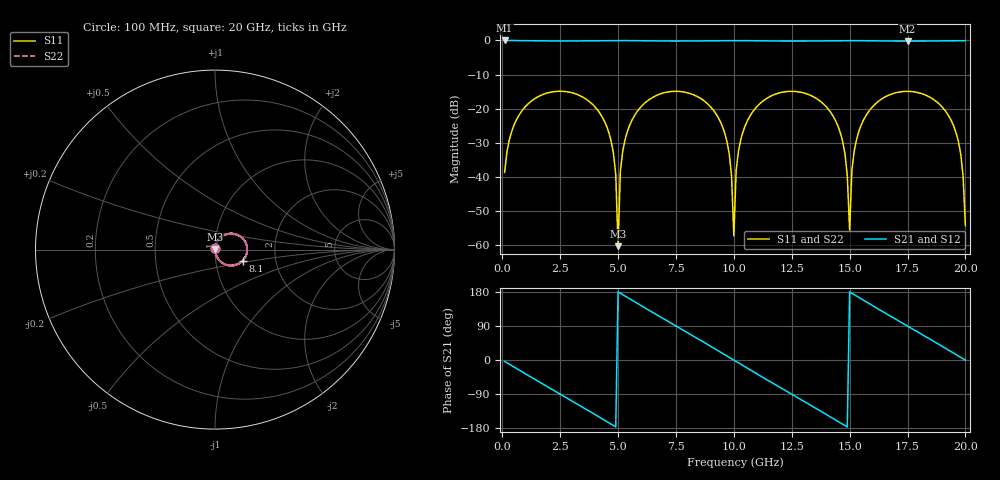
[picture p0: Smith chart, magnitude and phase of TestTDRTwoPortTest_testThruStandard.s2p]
! File created by SignalIntegrity v1.1.13: Signal and Power Integrity Tools
! https://github.com/TeledyneLeCroy/SignalIntegrity
# MHz S MA R 50.0
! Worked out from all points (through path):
!   200 points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, 100 MHz to 20 GHz, reference 50 ohm
!   highest |S21| = -0.01 dB at 100 MHz (marker M1); lowest = -0.2 dB at 17.5 GHz (marker M2)
!   group delay of S21, straight-line fit = 100 ps
!   lowest |S11| = -60.3 dB at 5 GHz (marker M3), VSWR 1.00, Z = 50.1 + j0.0679 ohm
!   |S11| at or under -10 dB: start of sweep to end of sweep
!   |S22| runs from -60.3 to -14.9 dB; largest |S21 - S12| = 0
!   S11 on the Smith chart (normalised r, x): 100 MHz: 1.00, +0.02; 8.1 GHz: 1.36, -0.17; 20 GHz: 1.00, +0.00
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100  0.0116 85.8  0.9994 -3.7  0.9994 -3.7  0.0116 85.8
1100  0.1161 49.7  0.9915 -40.2  0.9915 -40.2  0.1161 49.7
3500  0.1459 -35.6  0.9862 -125.7  0.9862 -125.7  0.1459 -35.6
4700  0.03357 -78.1  0.9958 -169.2  0.9958 -169.2  0.03357 -78.1
4900  0.01082 -83.0  0.9962 -176.6  0.9962 -176.6  0.01082 -83.0
5000  0.000962 44.8  0.9962 179.8  0.9962 179.8  0.000962 44.8
5100  0.01217 82.9  0.9961 176.1  0.9961 176.1  0.01217 82.9
5300  0.03489 77.7  0.9955 168.8  0.9955 168.8  0.03489 77.7
6800  0.1633 24.5  0.9822 114.6  0.9822 114.6  0.1633 24.5
8100  0.1669 -21.4  0.9812 68.5  0.9812 68.5  0.1669 -21.4
9600  0.04441 -74.5  0.9938 14.3  0.9938 14.3  0.04441 -74.5
10000  0.001359 44.7  0.9947 -0.3  0.9947 -0.3  0.001359 44.7
10100  0.01245 81.6  0.9946 -4.0  0.9946 -4.0  0.01245 81.6
11100  0.1162 49.2  0.9876 -40.4  0.9876 -40.4  0.1162 49.2
13400  0.1515 -32.1  0.9824 -122.3  0.9824 -122.3  0.1515 -32.1
14600  0.04415 -74.3  0.9926 -165.7  0.9926 -165.7  0.04415 -74.3
15000  0.001662 44.6  0.9935 179.6  0.9935 179.6  0.001662 44.6
15400  0.04641 73.6  0.9923 165.0  0.9923 165.0  0.04641 73.6
16700  0.1581 27.8  0.9806 118.0  0.9806 118.0  0.1581 27.8
17500  0.1791 -0.4  0.9769 89.6  0.9769 89.6  0.1791 -0.4
19500  0.05489 -70.8  0.9911 17.8  0.9911 17.8  0.05489 -70.8
20000  0.001917 44.6  0.9925 -0.4  0.9925 -0.4  0.001917 44.6
